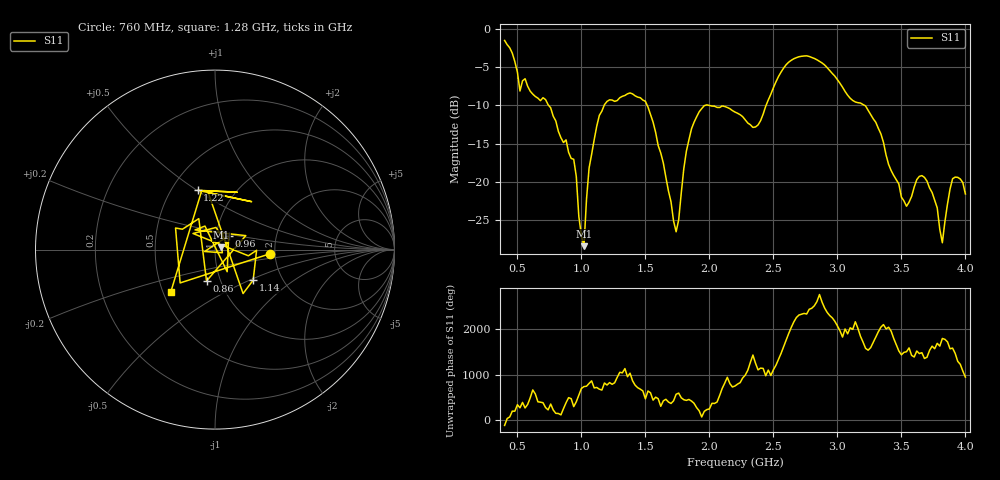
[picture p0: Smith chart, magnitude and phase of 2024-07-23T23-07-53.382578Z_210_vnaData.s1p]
!Created with skrf (http://scikit-rf.org).
# Hz S RI R 50.0
!freq ReS11 ImS11
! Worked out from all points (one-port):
!   181 points, 400 MHz to 4 GHz, reference 50 ohm
!   lowest |S11| = -28.4 dB at 1.02 GHz (marker M1), VSWR 1.08, Z = 53.7 + j1.29 ohm
!   |S11| at or under -10 dB: 1.515 GHz to 1.965 GHz (450 MHz wide, 25.9 % of centre); 2.002 GHz to 2.442 GHz (440.3 MHz wide, 19.8 % of centre); 3.214 GHz to end of sweep (the widest 3 of 4)
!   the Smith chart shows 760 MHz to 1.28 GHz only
!   S11 on the Smith chart (normalised r, x): 760 MHz: 1.87, -0.10; 860 MHz: 0.86, -0.31; 960 MHz: 1.15, +0.18; 1.14 GHz: 1.43, -0.52; 1.22 GHz: 0.67, +0.50; 1.28 GHz: 0.55, -0.29
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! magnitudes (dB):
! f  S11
! 400 MHz  -1.5
! 520 MHz  -8.1
! 760 MHz  -10.3
! 860 MHz  -14.8
! 960 MHz  -19.3
! 980 MHz  -24.5
! 1.02 GHz  -28.4
! 1.06 GHz  -18.2
! 1.14 GHz  -11.3
! 1.22 GHz  -9.3
! 1.28 GHz  -9.4
! 1.3 GHz  -9.0
! 1.5 GHz  -9.5
! 1.74 GHz  -26.5
! 1.76 GHz  -25.0
! 1.82 GHz  -16.0
! 1.92 GHz  -10.8
! 2.2 GHz  -10.9
! 2.38 GHz  -12.5
! 2.66 GHz  -3.9
! 3.1 GHz  -9.1
! 3.3 GHz  -12.2
! 3.56 GHz  -22.6
! 3.68 GHz  -19.4
! 3.78 GHz  -23.4
! 3.82 GHz  -28.0
! 3.9 GHz  -19.6
! 4 GHz  -21.6
